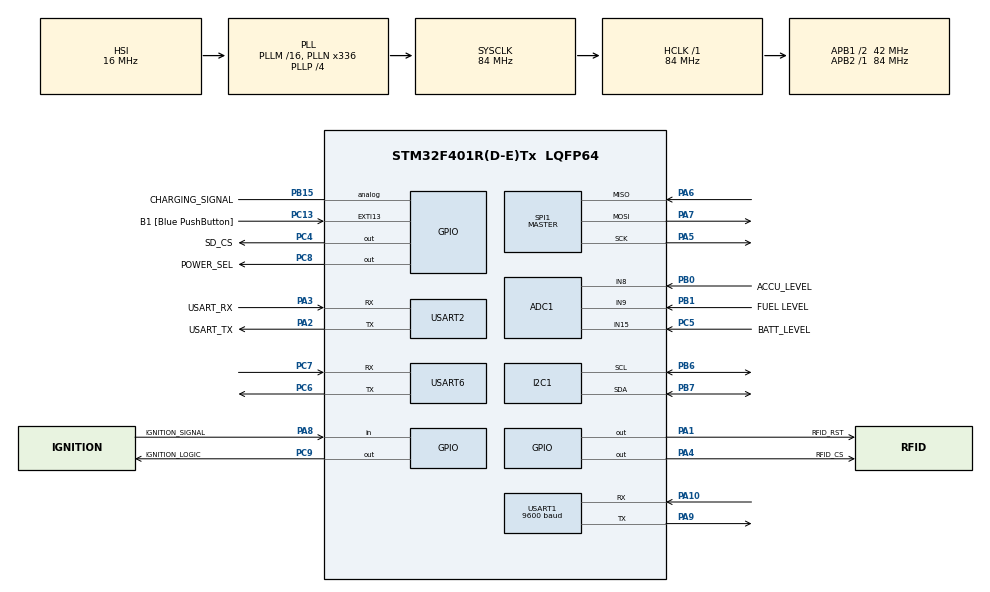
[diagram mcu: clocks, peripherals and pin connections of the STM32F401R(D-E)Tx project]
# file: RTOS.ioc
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Mcu.Family=STM32F4
PA2.GPIO_PuPd=GPIO_NOPULL
PA6.Mode=Full_Duplex_Master
RCC.CortexFreq_Value=84000000
Dma.ADC1.1.MemDataAlignment=DMA_MDATAALIGN_WORD
SPI1.VirtualType=VM_MASTER
ADC1.ContinuousConvMode=ENABLE
USART1.BaudRate=9600
ADC1.SamplingTime-6\#ChannelRegularConversion=ADC_SAMPLETIME_480CYCLES
PA14.GPIO_Label=TCK
PA3.GPIO_PuPd=GPIO_NOPULL
PA2.GPIO_Speed=GPIO_SPEED_FREQ_LOW
PB0.GPIO_Label=ACCU_LEVEL
PA3.GPIO_Speed=GPIO_SPEED_FREQ_LOW
PB15.Signal=GPIO_Analog
RCC.SYSCLKSource=RCC_SYSCLKSOURCE_PLLCLK
ProjectManager.StackSize=0x400
VP_FREERTOS_VS_CMSIS_V2.Mode=CMSIS_V2
PH0\ -\ OSC_IN.Signal=RCC_OSC_IN
Dma.ADC1.1.Instance=DMA2_Stream0
SPI1.Direction=SPI_DIRECTION_2LINES
RCC.HCLKFreq_Value=84000000
RCC.APB2TimFreq_Value=84000000
PB6.Signal=I2C1_SCL
PC7.Signal=USART6_RX
ADC1.InjNumberOfConversion=0
Dma.ADC1.1.PeriphDataAlignment=DMA_PDATAALIGN_WORD
PB6.Mode=I2C
NVIC.DMA2_Stream0_IRQn=true\:5\:0\:false\:false\:true\:true\:false\:true
PA1.GPIO_PuPd=GPIO_PULLUP
RCC.AHBFreq_Value=84000000
Dma.USART1_RX.0.Priority=DMA_PRIORITY_LOW
ADC1.Channel-0\#ChannelRegularConversion=ADC_CHANNEL_15
RCC.HSE_VALUE=8000000
PA4.GPIO_PuPd=GPIO_PULLUP
PC13-ANTI_TAMP.Signal=GPXTI13
SH.ADCx_IN15.0=ADC1_IN15,IN15
ADC1.Channel-6\#ChannelRegularConversion=ADC_CHANNEL_8
PA6.GPIO_PuPd=GPIO_PULLUP
PC14-OSC32_IN.Mode=LSE-External-Oscillator
PC4.GPIO_Label=SD_CS
PA14.Mode=Serial_Wire
VP_SYS_VS_tim1.Mode=TIM1
PA5.GPIO_PuPd=GPIO_PULLUP
PB1.GPIO_Label=FUEL LEVEL
Dma.ADC1.1.Priority=DMA_PRIORITY_LOW
SH.ADCx_IN8.0=ADC1_IN8,IN8
PB7.Signal=I2C1_SDA
Dma.ADC1.1.Mode=DMA_CIRCULAR
PA8.Signal=GPIO_Input
Dma.USART1_RX.0.MemInc=DMA_MINC_ENABLE
ADC1.SamplingTime-0\#ChannelRegularConversion=ADC_SAMPLETIME_480CYCLES
FREERTOS.configTOTAL_HEAP_SIZE=25000
Mcu.Package=LQFP64
PB1.Signal=ADCx_IN9
PA6.Signal=SPI1_MISO
NVIC.TimeBase=TIM1_UP_TIM10_IRQn
USART2.VirtualMode=VM_ASYNC
USART6.VirtualMode=VM_ASYNC
Dma.ADC1.1.Direction=DMA_PERIPH_TO_MEMORY
PA2.GPIO_Label=USART_TX
Dma.ADC1.1.MemInc=DMA_MINC_ENABLE
NVIC.TimeBaseIP=TIM1
PA10.Signal=USART1_RX
PA1.PinState=GPIO_PIN_SET
SH.ADCx_IN9.0=ADC1_IN9,IN9
Dma.USART1_RX.0.FIFOMode=DMA_FIFOMODE_DISABLE
NVIC.DMA2_Stream2_IRQn=true\:5\:0\:false\:false\:true\:true\:false\:true
Dma.Request1=ADC1
RCC.APB1TimFreq_Value=84000000
Dma.USART1_RX.0.Mode=DMA_CIRCULAR
PC5.Signal=ADCx_IN15
NVIC.USART1_IRQn=true\:5\:0\:false\:false\:true\:true\:true\:true
ADC1.Rank-6\#ChannelRegularConversion=2
Dma.Request0=USART1_RX
SPI1.BaudRatePrescaler=SPI_BAUDRATEPRESCALER_128
PA4.GPIO_Label=RFID_CS
Dma.USART1_RX.0.Instance=DMA2_Stream2
PA3.Signal=USART2_RX
PA5.Mode=Full_Duplex_Master
PA2.GPIO_Mode=GPIO_MODE_AF_PP
PB3.GPIO_Label=SWO
PC15-OSC32_OUT.Mode=LSE-External-Oscillator
FREERTOS.Tasks01=MainProcessTask,25,250,MainProcess,Default,NULL,Dynamic,NULL,NULL;IMUTask,25,250,IMU,Default,NULL,Dynamic,NULL,NULL;GPSTask,40,1024,GPS,Default,NULL,Dynamic,NULL,NULL;RFIDTask,42,500,RFID,Default,NULL,Dynamic,NULL,NULL;SDCardTask,42,1024,SDCard,Default,NULL,Dynamic,NULL,NULL;ADCProcessingTa,24,250,ADCProcesing,Default,NULL,Dynamic,NULL,NULL;LoggingDataTask,32,400,LoggingData,Default,NULL,Dynamic,NULL,NULL;SendDataTask,40,2048,SendData,Default,NULL,Dynamic,NULL,NULL
ADC1.Rank-0\#ChannelRegularConversion=1
PA7.Mode=Full_Duplex_Master
Dma.USART1_RX.0.PeriphDataAlignment=DMA_PDATAALIGN_BYTE
PA10.Mode=Asynchronous
PC13-ANTI_TAMP.GPIO_PuPd=GPIO_NOPULL
PC9.GPIO_Label=IGNITION_LOGIC
PC13-ANTI_TAMP.GPIO_Label=B1 [Blue PushButton]
PH1\ -\ OSC_OUT.Mode=HSE-External-Clock-Source
PC8.Signal=GPIO_Output
PC4.Signal=GPIO_Output
PC6.Signal=USART6_TX
RCC.APB1CLKDivider=RCC_HCLK_DIV2
PC14-OSC32_IN.Signal=RCC_OSC32_IN
ADC1.Channel-7\#ChannelRegularConversion=ADC_CHANNEL_9
NVIC.USART6_IRQn=true\:5\:0\:false\:false\:true\:true\:true\:true
PC8.GPIO_Label=POWER_SEL
PA3.Mode=Asynchronous
PA13.Signal=SYS_JTMS-SWDIO
PA9.Mode=Asynchronous
PH0\ -\ OSC_IN.Mode=HSE-External-Clock-Source
PA8.GPIO_Label=IGNITION_SIGNAL
PA4.PinState=GPIO_PIN_SET
ProjectManager.TargetToolchain=STM32CubeIDE
PA3.GPIO_Mode=GPIO_MODE_AF_PP
PC6.Mode=Asynchronous
Dma.USART1_RX.0.Direction=DMA_PERIPH_TO_MEMORY
PA9.Signal=USART1_TX
PC15-OSC32_OUT.Signal=RCC_OSC32_OUT
PA1.Signal=GPIO_Output
PA7.GPIO_PuPd=GPIO_PULLUP
Dma.USART1_RX.0.PeriphInc=DMA_PINC_DISABLE
VP_FATFS_VS_Generic.Mode=User_defined
PA5.Signal=SPI1_SCK
PH1\ -\ OSC_OUT.Signal=RCC_OSC_OUT
board=NUCLEO-F401RE
RCC.VCOOutputFreq_Value=336000000
Dma.ADC1.1.FIFOMode=DMA_FIFOMODE_DISABLE
RCC.APB2Freq_Value=84000000
PB15.GPIO_Label=CHARGING_SIGNAL
SPI1.Mode=SPI_MODE_MASTER
PA1.GPIO_Label=RFID_RST
Dma.USART1_RX.0.MemDataAlignment=DMA_MDATAALIGN_BYTE
Dma.ADC1.1.PeriphInc=DMA_PINC_DISABLE
ADC1.DMAContinuousRequests=ENABLE
ADC1.NbrOfConversion=3
PA13.Mode=Serial_Wire
Mcu.Name=STM32F401R(D-E)Tx
FREERTOS.INCLUDE_xSemaphoreGetMutexHolder=1
PA2.Signal=USART2_TX
PA13.GPIO_Label=TMS
RCC.48MHZClocksFreq_Value=48000000
PB3.Signal=SYS_JTDO-SWO
PA4.Signal=GPIO_Output
RCC.SYSCLKFreq_VALUE=84000000
ADC1.master=1
PC5.GPIO_Label=BATT_LEVEL
USART1.VirtualMode=VM_ASYNC
PC13-ANTI_TAMP.GPIO_ModeDefaultEXTI=GPIO_MODE_IT_FALLING
PB7.Mode=I2C
PA14.Signal=SYS_JTCK-SWCLK
ProjectManager.HeapSize=0x200
NVIC.TIM1_UP_TIM10_IRQn=true\:0\:0\:false\:false\:true\:false\:false\:true
RCC.HSI_VALUE=16000000
PA8.GPIO_PuPd=GPIO_PULLUP
ADC1.Rank-7\#ChannelRegularConversion=3
FREERTOS.Mutexes01=MutexSPI1,Dynamic,NULL;mutexIMU,Dynamic,NULL
RCC.PLLP=RCC_PLLP_DIV4
RCC.PLLQ=7
NVIC.PriorityGroup=NVIC_PRIORITYGROUP_4
ADC1.NbrOfConversionFlag=1
RCC.PLLN=336
PA2.Mode=Asynchronous
PC9.Signal=GPIO_Output
ADC1.SamplingTime-7\#ChannelRegularConversion=ADC_SAMPLETIME_480CYCLES
PC7.Mode=Asynchronous
RCC.APB1Freq_Value=42000000
PB0.Signal=ADCx_IN8
PA3.GPIO_Label=USART_RX
PA7.Signal=SPI1_MOSI

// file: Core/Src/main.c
/* USER CODE BEGIN Header */
/**
  ******************************************************************************
  * @file           : main.c
  * @brief          : Main program body
  ******************************************************************************
  * @attention
  *
  * <h2><center>&copy; Copyright (c) 2021 STMicroelectronics.
  * All rights reserved.</center></h2>
  *
  * This software component is licensed by ST under BSD 3-Clause license,
  * the "License"; You may not use this file except in compliance with the
  * License. You may obtain a copy of the License at:
  *                        opensource.org/licenses/BSD-3-Clause
  *
  ******************************************************************************
  */
/* USER CODE END Header */
#include "main.h"
#include "cmsis_os.h"
#include "fatfs.h"

/* USER CODE BEGIN Includes */
#include <stdio.h>
#include <string.h>
#include <stdlib.h>
#include<stdbool.h>
#include "mpu6050.h"
#include "MFRC522.h"
#include "integer_type.h"
#include <math.h>
#include "RCFilter.h"
#include <stdarg.h>
#include "KalmanFilter.h"
#include "MQTTSim800.h"

/* USER CODE END Includes */

/* USER CODE BEGIN PD */
#define PI 3.14159265

#define ADC_RESOLUTION 4096
#define VOLTAGE_REFERENCE 3.3
#define ACCU_THRESHOLD 12
#define BATT_THRESHOLD 3.7

#define IMU_TS 10
#define GPS_TS 1000

#define ACC_BUFF_LEN 100
#define SPEED_BUFF_LEN 100
#define LOG_LENGTH 2

#define pdTICKSTOMS( xTicks )    ( ( xTicks * 1000 ) / configTICK_RATE_HZ )

/* USER CODE END PD */

ADC_HandleTypeDef hadc1;
DMA_HandleTypeDef hdma_adc1;

I2C_HandleTypeDef hi2c1;

SPI_HandleTypeDef hspi1;

UART_HandleTypeDef huart1;
UART_HandleTypeDef huart2;
UART_HandleTypeDef huart6;
DMA_HandleTypeDef hdma_usart1_rx;

/* Definitions for MainProcessTask */
osThreadId_t MainProcessTaskHandle;
const osThreadAttr_t MainProcessTask_attributes = {
  .name = "MainProcessTask",
  .stack_size = 250 * 4,
  .priority = (osPriority_t) osPriorityNormal1,
};
/* Definitions for IMUTask */
osThreadId_t IMUTaskHandle;
const osThreadAttr_t IMUTask_attributes = {
  .name = "IMUTask",
  .stack_size = 250 * 4,
  .priority = (osPriority_t) osPriorityNormal1,
};
/* Definitions for GPSTask */
osThreadId_t GPSTaskHandle;
const osThreadAttr_t GPSTask_attributes = {
  .name = "GPSTask",
  .stack_size = 1024 * 4,
  .priority = (osPriority_t) osPriorityHigh,
};
/* Definitions for RFIDTask */
osThreadId_t RFIDTaskHandle;
const osThreadAttr_t RFIDTask_attributes = {
  .name = "RFIDTask",
  .stack_size = 500 * 4,
  .priority = (osPriority_t) osPriorityHigh2,
};
/* Definitions for SDCardTask */
osThreadId_t SDCardTaskHandle;
const osThreadAttr_t SDCardTask_attributes = {
  .name = "SDCardTask",
  .stack_size = 1024 * 4,
  .priority = (osPriority_t) osPriorityHigh2,
};
/* Definitions for ADCProcessingTa */
osThreadId_t ADCProcessingTaHandle;
const osThreadAttr_t ADCProcessingTa_attributes = {
  .name = "ADCProcessingTa",
  .stack_size = 250 * 4,
  .priority = (osPriority_t) osPriorityNormal,
};
/* Definitions for LoggingDataTask */
osThreadId_t LoggingDataTaskHandle;
const osThreadAttr_t LoggingDataTask_attributes = {
  .name = "LoggingDataTask",
  .stack_size = 400 * 4,
  .priority = (osPriority_t) osPriorityAboveNormal,
};
/* Definitions for SendDataTask */
osThreadId_t SendDataTaskHandle;
const osThreadAttr_t SendDataTask_attributes = {
  .name = "SendDataTask",
  .stack_size = 2048 * 4,
  .priority = (osPriority_t) osPriorityHigh,
};
/* Definitions for MutexSPI1 */
osMutexId_t MutexSPI1Handle;
const osMutexAttr_t MutexSPI1_attributes = {
  .name = "MutexSPI1"
};
/* Definitions for mutexIMU */
osMutexId_t mutexIMUHandle;
const osMutexAttr_t mutexIMU_attributes = {
  .name = "mutexIMU"
};
/* USER CODE BEGIN PV */
	//task Handle

	//IMU Variable
	MPU6050_t MPU6050;
	const float ref_range = 2;
	const float ref_low = -1;
	const float raw_low_x = -1.02;
	const float raw_low_y = -1.04;
	const float raw_low_z = -1.17;
	const float raw_high_x = 1.06;
	const float raw_high_y = 1.1;
	const float raw_high_z = 0.83;
	double speed;
	float acc_buff[ACC_BUFF_LEN];
	double acc, pitch, roll;
	double acc_max, acc_avg;
	double speed_max, speed_avg;
	uint16_t imu_index;
	MovAvgFilter MFiltAx, MFiltAy, MFiltAz;
	MovAvgFilter MFiltGx, MFiltGy, MFiltGz;

	MatrixTransform MatrixTranform;
	//RFID Variable
	uint8_t UID[4]={};
	uint8_t identification = 0;

	//GPS Variable
	double latitude, prev_latitude = 0;
	double longitude, prev_longitude = 0;
	char strUTC[8] = {}; // UTC time in the readable hh:mm:ss format
	uint8_t flag = 0;
	char GPS_msg[20] ={};
	double GPS_distance;
	double GPS_speed;

	//ADC Variables
	float value[3];
	uint32_t buffer[3];
	RCFilter rcFiltFuel, rcFiltAccu, rcFiltBatt;
	MovAvgFilter MAFiltFuel, MAFiltAccu, MAFiltBatt;
	float result_fuel = 0;
	//SD Card Variables
	FATFS FatFs; 	//Fatfs handle
	FIL fil; 		//File handle
	FRESULT fres; 	//Result after operations
	//Let's get some statistics from the SD card
	DWORD free_clusters, free_sectors, total_sectors;
	FATFS* getFreeFs;
	//Ignition Variables
	uint8_t ignition_status = 0;
	uint8_t ignition_logic = 0;

	//Power Variables
	uint8_t power_sel = 0; //accu usage
	uint8_t charging = 0;

	//Logging Data Variables
	float log_acc_max[LOG_LENGTH] = {};
	float log_acc_avg[LOG_LENGTH] = {};
	float log_gyro[LOG_LENGTH] = {};
	float log_speed_max[LOG_LENGTH] = {};
	float log_speed_avg[LOG_LENGTH] = {};
	double log_latitude[LOG_LENGTH] = {};
	double log_longitude[LOG_LENGTH] = {};
	float log_fuel[LOG_LENGTH] = {};
	float log_accu[LOG_LENGTH] = {};
	float log_batt[LOG_LENGTH] = {};
	uint8_t log_ignition_status [LOG_LENGTH] = {};
	char log_timestamp[LOG_LENGTH][32] = {};

	//GSM
	extern char answer[32];
	extern bool x;
	uint16_t queue = 0;
	//Timestamp
	char timestamp[32] = {};
	//Payload
	char payload[4096];

/* USER CODE END PV */

void SystemClock_Config(void);
static void MX_GPIO_Init(void);
static void MX_DMA_Init(void);
static void MX_USART2_UART_Init(void);
static void MX_I2C1_Init(void);
static void MX_SPI1_Init(void);
static void MX_USART1_UART_Init(void);
static void MX_ADC1_Init(void);
static void MX_USART6_UART_Init(void);
void MainProcess(void *argument);
void IMU(void *argument);
void GPS(void *argument);
void RFID(void *argument);
void SDCard(void *argument);
void ADCProcesing(void *argument);
void LoggingData(void *argument);
void SendData(void *argument);

/* USER CODE BEGIN PFP */
// function to calculate checksum of the NMEA sentence
// -4, but not -3 because the NMEA sentences are delimited with \r\n, and there also is the invisible \r in the end
int nmea0183_checksum(char *msg) {
	int checksum = 0;
	int j = 0;
	// the first $ sign and the last two bytes of original CRC + the * sign
	for (j = 1; j < strlen(msg) - 4; j++) {
		checksum = checksum ^ (unsigned) msg[j];
	}
	return checksum;
}
void HAL_UART_RxCpltCallback(UART_HandleTypeDef *huart) {
	if (huart == UART_SIM800) {
		Sim800_RxCallBack();
		if(x){
			if(strstr(answer,"CCLK")!=NULL){
				memset(timestamp,0,sizeof(timestamp));
				//copy answer to timestamp
				memcpy(timestamp,answer,sizeof(answer));
			}
		}
	} else {
		flag = 1; //GPS Flag
	}
}

void HAL_ADC_ConvCpltCallback(ADC_HandleTypeDef* hadc)
{
  for(int i = 0; i<3; i++){
	  value[i] = buffer[i];
  }
  //Filtering Analog reading
}

void myprintf(const char *fmt, ...) {
  static char buffer[256];
  va_list args;
  va_start(args, fmt);
  vsnprintf(buffer, sizeof(buffer), fmt, args);
  va_end(args);

  int len = strlen(buffer);
  HAL_UART_Transmit(&huart2, (uint8_t*)buffer, len, -1);

}

double distance_on_geoid(double lat1, double lon1, double lat2, double lon2) {

	// Convert degrees to radians
	lat1 = lat1 * M_PI / 180.0;
	lon1 = lon1 * M_PI / 180.0;

	lat2 = lat2 * M_PI / 180.0;
	lon2 = lon2 * M_PI / 180.0;

	// radius of earth in metres
	double r = 6378100;

	// P
	double rho1 = r * cos(lat1);
	double z1 = r * sin(lat1);
	double x1 = rho1 * cos(lon1);
	double y1 = rho1 * sin(lon1);

	// Q
	double rho2 = r * cos(lat2);
	double z2 = r * sin(lat2);
	double x2 = rho2 * cos(lon2);
	double y2 = rho2 * sin(lon2);

	// Dot product
	double dot = (x1 * x2 + y1 * y2 + z1 * z2);
	double cos_theta = dot / (r * r);

	double theta = acos(cos_theta);

	// Distance in Metres
	return r * theta;
}

/* USER CODE END PFP */

int main(void)
{

  /* MCU Configuration--------------------------------------------------------*/

  /* Reset of all peripherals, Initializes the Flash interface and the Systick. */
  HAL_Init();

  /* Configure the system clock */
  SystemClock_Config();

  /* Initialize all configured peripherals */
  MX_GPIO_Init();
  MX_DMA_Init();
  MX_USART2_UART_Init();
  MX_I2C1_Init();
  MX_SPI1_Init();
  MX_USART1_UART_Init();
  MX_ADC1_Init();
  MX_FATFS_Init();
  MX_USART6_UART_Init();
  /* USER CODE BEGIN 2 */
  char txBuffer [100] = {};
  sprintf(txBuffer, "Bismillah..\n");
  HAL_UART_Transmit(&huart2, (unsigned char*) txBuffer, sizeof(txBuffer), 500);
  /* USER CODE END 2 */

  /* Init scheduler */
  osKernelInitialize();
  /* Create the mutex(es) */
  /* creation of MutexSPI1 */
  MutexSPI1Handle = osMutexNew(&MutexSPI1_attributes);

  /* creation of mutexIMU */
  mutexIMUHandle = osMutexNew(&mutexIMU_attributes);

  /* Create the thread(s) */
  /* creation of MainProcessTask */
//  MainProcessTaskHandle = osThreadNew(MainProcess, NULL, &MainProcessTask_attributes);

  /* creation of IMUTask */
//  IMUTaskHandle = osThreadNew(IMU, NULL, &IMUTask_attributes);

  /* creation of GPSTask */
  GPSTaskHandle = osThreadNew(GPS, NULL, &GPSTask_attributes);

  /* creation of RFIDTask */
//  RFIDTaskHandle = osThreadNew(RFID, NULL, &RFIDTask_attributes);

  /* creation of SDCardTask */
//  SDCardTaskHandle = osThreadNew(SDCard, NULL, &SDCardTask_attributes);

  /* creation of ADCProcessingTa */
//  ADCProcessingTaHandle = osThreadNew(ADCProcesing, NULL, &ADCProcessingTa_attributes);

  /* creation of LoggingDataTask */
//  LoggingDataTaskHandle = osThreadNew(LoggingData, NULL, &LoggingDataTask_attributes);

  /* creation of SendDataTask */
//  SendDataTaskHandle = osThreadNew(SendData, NULL, &SendDataTask_attributes);

  /* Start scheduler */
  osKernelStart();

  /* We should never get here as control is now taken by the scheduler */
  /* Infinite loop */
  while (1)
  {

  }
}

void SystemClock_Config(void)
{
  RCC_OscInitTypeDef RCC_OscInitStruct = {0};
  RCC_ClkInitTypeDef RCC_ClkInitStruct = {0};

  /** Configure the main internal regulator output voltage
  */
  __HAL_RCC_PWR_CLK_ENABLE();
  __HAL_PWR_VOLTAGESCALING_CONFIG(PWR_REGULATOR_VOLTAGE_SCALE2);
  /** Initializes the RCC Oscillators according to the specified parameters
  * in the RCC_OscInitTypeDef structure.
  */
  RCC_OscInitStruct.OscillatorType = RCC_OSCILLATORTYPE_HSI;
  RCC_OscInitStruct.HSIState = RCC_HSI_ON;
  RCC_OscInitStruct.HSICalibrationValue = RCC_HSICALIBRATION_DEFAULT;
  RCC_OscInitStruct.PLL.PLLState = RCC_PLL_ON;
  RCC_OscInitStruct.PLL.PLLSource = RCC_PLLSOURCE_HSI;
  RCC_OscInitStruct.PLL.PLLM = 16;
  RCC_OscInitStruct.PLL.PLLN = 336;
  RCC_OscInitStruct.PLL.PLLP = RCC_PLLP_DIV4;
  RCC_OscInitStruct.PLL.PLLQ = 7;
  if (HAL_RCC_OscConfig(&RCC_OscInitStruct) != HAL_OK)
  {
    Error_Handler();
  }
  /** Initializes the CPU, AHB and APB buses clocks
  */
  RCC_ClkInitStruct.ClockType = RCC_CLOCKTYPE_HCLK|RCC_CLOCKTYPE_SYSCLK
                              |RCC_CLOCKTYPE_PCLK1|RCC_CLOCKTYPE_PCLK2;
  RCC_ClkInitStruct.SYSCLKSource = RCC_SYSCLKSOURCE_PLLCLK;
  RCC_ClkInitStruct.AHBCLKDivider = RCC_SYSCLK_DIV1;
  RCC_ClkInitStruct.APB1CLKDivider = RCC_HCLK_DIV2;
  RCC_ClkInitStruct.APB2CLKDivider = RCC_HCLK_DIV1;

  if (HAL_RCC_ClockConfig(&RCC_ClkInitStruct, FLASH_LATENCY_2) != HAL_OK)
  {
    Error_Handler();
  }
}

static void MX_ADC1_Init(void)
{

  ADC_ChannelConfTypeDef sConfig = {0};

  /** Configure the global features of the ADC (Clock, Resolution, Data Alignment and number of conversion)
  */
  hadc1.Instance = ADC1;
  hadc1.Init.ClockPrescaler = ADC_CLOCK_SYNC_PCLK_DIV4;
  hadc1.Init.Resolution = ADC_RESOLUTION_12B;
  hadc1.Init.ScanConvMode = ENABLE;
  hadc1.Init.ContinuousConvMode = ENABLE;
  hadc1.Init.DiscontinuousConvMode = DISABLE;
  hadc1.Init.ExternalTrigConvEdge = ADC_EXTERNALTRIGCONVEDGE_NONE;
  hadc1.Init.ExternalTrigConv = ADC_SOFTWARE_START;
  hadc1.Init.DataAlign = ADC_DATAALIGN_RIGHT;
  hadc1.Init.NbrOfConversion = 3;
  hadc1.Init.DMAContinuousRequests = ENABLE;
  hadc1.Init.EOCSelection = ADC_EOC_SINGLE_CONV;
  if (HAL_ADC_Init(&hadc1) != HAL_OK)
  {
    Error_Handler();
  }
  /** Configure for the selected ADC regular channel its corresponding rank in the sequencer and its sample time.
  */
  sConfig.Channel = ADC_CHANNEL_15;
  sConfig.Rank = 1;
  sConfig.SamplingTime = ADC_SAMPLETIME_480CYCLES;
  if (HAL_ADC_ConfigChannel(&hadc1, &sConfig) != HAL_OK)
  {
    Error_Handler();
  }
  /** Configure for the selected ADC regular channel its corresponding rank in the sequencer and its sample time.
  */
  sConfig.Channel = ADC_CHANNEL_8;
  sConfig.Rank = 2;
  if (HAL_ADC_ConfigChannel(&hadc1, &sConfig) != HAL_OK)
  {
    Error_Handler();
  }
  /** Configure for the selected ADC regular channel its corresponding rank in the sequencer and its sample time.
  */
  sConfig.Channel = ADC_CHANNEL_9;
  sConfig.Rank = 3;
  if (HAL_ADC_ConfigChannel(&hadc1, &sConfig) != HAL_OK)
  {
    Error_Handler();
  }

}

static void MX_I2C1_Init(void)
{

  hi2c1.Instance = I2C1;
  hi2c1.Init.ClockSpeed = 100000;
  hi2c1.Init.DutyCycle = I2C_DUTYCYCLE_2;
  hi2c1.Init.OwnAddress1 = 0;
  hi2c1.Init.AddressingMode = I2C_ADDRESSINGMODE_7BIT;
  hi2c1.Init.DualAddressMode = I2C_DUALADDRESS_DISABLE;
  hi2c1.Init.OwnAddress2 = 0;
  hi2c1.Init.GeneralCallMode = I2C_GENERALCALL_DISABLE;
  hi2c1.Init.NoStretchMode = I2C_NOSTRETCH_DISABLE;
  if (HAL_I2C_Init(&hi2c1) != HAL_OK)
  {
    Error_Handler();
  }

}

static void MX_SPI1_Init(void)
{

  /* SPI1 parameter configuration*/
  hspi1.Instance = SPI1;
  hspi1.Init.Mode = SPI_MODE_MASTER;
  hspi1.Init.Direction = SPI_DIRECTION_2LINES;
  hspi1.Init.DataSize = SPI_DATASIZE_8BIT;
  hspi1.Init.CLKPolarity = SPI_POLARITY_LOW;
  hspi1.Init.CLKPhase = SPI_PHASE_1EDGE;
  hspi1.Init.NSS = SPI_NSS_SOFT;
  hspi1.Init.BaudRatePrescaler = SPI_BAUDRATEPRESCALER_128;
  hspi1.Init.FirstBit = SPI_FIRSTBIT_MSB;
  hspi1.Init.TIMode = SPI_TIMODE_DISABLE;
  hspi1.Init.CRCCalculation = SPI_CRCCALCULATION_DISABLE;
  hspi1.Init.CRCPolynomial = 10;
  if (HAL_SPI_Init(&hspi1) != HAL_OK)
  {
    Error_Handler();
  }

}

static void MX_USART1_UART_Init(void)
{

  huart1.Instance = USART1;
  huart1.Init.BaudRate = 9600;
  huart1.Init.WordLength = UART_WORDLENGTH_8B;
  huart1.Init.StopBits = UART_STOPBITS_1;
  huart1.Init.Parity = UART_PARITY_NONE;
  huart1.Init.Mode = UART_MODE_TX_RX;
  huart1.Init.HwFlowCtl = UART_HWCONTROL_NONE;
  huart1.Init.OverSampling = UART_OVERSAMPLING_16;
  if (HAL_UART_Init(&huart1) != HAL_OK)
  {
    Error_Handler();
  }

}

static void MX_USART2_UART_Init(void)
{

  huart2.Instance = USART2;
  huart2.Init.BaudRate = 115200;
  huart2.Init.WordLength = UART_WORDLENGTH_8B;
  huart2.Init.StopBits = UART_STOPBITS_1;
  huart2.Init.Parity = UART_PARITY_NONE;
  huart2.Init.Mode = UART_MODE_TX_RX;
  huart2.Init.HwFlowCtl = UART_HWCONTROL_NONE;
  huart2.Init.OverSampling = UART_OVERSAMPLING_16;
  if (HAL_UART_Init(&huart2) != HAL_OK)
  {
    Error_Handler();
  }

}

static void MX_USART6_UART_Init(void)
{

  huart6.Instance = USART6;
  huart6.Init.BaudRate = 115200;
  huart6.Init.WordLength = UART_WORDLENGTH_8B;
  huart6.Init.StopBits = UART_STOPBITS_1;
  huart6.Init.Parity = UART_PARITY_NONE;
  huart6.Init.Mode = UART_MODE_TX_RX;
  huart6.Init.HwFlowCtl = UART_HWCONTROL_NONE;
  huart6.Init.OverSampling = UART_OVERSAMPLING_16;
  if (HAL_UART_Init(&huart6) != HAL_OK)
  {
    Error_Handler();
  }

}

static void MX_DMA_Init(void)
{

  /* DMA controller clock enable */
  __HAL_RCC_DMA2_CLK_ENABLE();

  /* DMA interrupt init */
  /* DMA2_Stream0_IRQn interrupt configuration */
  HAL_NVIC_SetPriority(DMA2_Stream0_IRQn, 5, 0);
  HAL_NVIC_EnableIRQ(DMA2_Stream0_IRQn);
  /* DMA2_Stream2_IRQn interrupt configuration */
  HAL_NVIC_SetPriority(DMA2_Stream2_IRQn, 5, 0);
  HAL_NVIC_EnableIRQ(DMA2_Stream2_IRQn);

}

static void MX_GPIO_Init(void)
{
  GPIO_InitTypeDef GPIO_InitStruct = {0};

  /* GPIO Ports Clock Enable */
  __HAL_RCC_GPIOC_CLK_ENABLE();
  __HAL_RCC_GPIOH_CLK_ENABLE();
  __HAL_RCC_GPIOA_CLK_ENABLE();
  __HAL_RCC_GPIOB_CLK_ENABLE();

  /*Configure GPIO pin Output Level */
  HAL_GPIO_WritePin(GPIOA, RFID_RST_Pin|RFID_CS_Pin, GPIO_PIN_SET);

  /*Configure GPIO pin Output Level */
  HAL_GPIO_WritePin(GPIOC, SD_CS_Pin|POWER_SEL_Pin|IGNITION_LOGIC_Pin, GPIO_PIN_RESET);

  /*Configure GPIO pin : B1_Pin */
  GPIO_InitStruct.Pin = B1_Pin;
  GPIO_InitStruct.Mode = GPIO_MODE_IT_FALLING;
  GPIO_InitStruct.Pull = GPIO_NOPULL;
  HAL_GPIO_Init(B1_GPIO_Port, &GPIO_InitStruct);

  /*Configure GPIO pins : RFID_RST_Pin RFID_CS_Pin */
  GPIO_InitStruct.Pin = RFID_RST_Pin|RFID_CS_Pin;
  GPIO_InitStruct.Mode = GPIO_MODE_OUTPUT_PP;
  GPIO_InitStruct.Pull = GPIO_PULLUP;
  GPIO_InitStruct.Speed = GPIO_SPEED_FREQ_LOW;
  HAL_GPIO_Init(GPIOA, &GPIO_InitStruct);

  /*Configure GPIO pins : SD_CS_Pin POWER_SEL_Pin IGNITION_LOGIC_Pin */
  GPIO_InitStruct.Pin = SD_CS_Pin|POWER_SEL_Pin|IGNITION_LOGIC_Pin;
  GPIO_InitStruct.Mode = GPIO_MODE_OUTPUT_PP;
  GPIO_InitStruct.Pull = GPIO_NOPULL;
  GPIO_InitStruct.Speed = GPIO_SPEED_FREQ_LOW;
  HAL_GPIO_Init(GPIOC, &GPIO_InitStruct);

  /*Configure GPIO pin : CHARGING_SIGNAL_Pin */
  GPIO_InitStruct.Pin = CHARGING_SIGNAL_Pin;
  GPIO_InitStruct.Mode = GPIO_MODE_ANALOG;
  GPIO_InitStruct.Pull = GPIO_NOPULL;
  HAL_GPIO_Init(CHARGING_SIGNAL_GPIO_Port, &GPIO_InitStruct);

  /*Configure GPIO pin : IGNITION_SIGNAL_Pin */
  GPIO_InitStruct.Pin = IGNITION_SIGNAL_Pin;
  GPIO_InitStruct.Mode = GPIO_MODE_INPUT;
  GPIO_InitStruct.Pull = GPIO_PULLUP;
  HAL_GPIO_Init(IGNITION_SIGNAL_GPIO_Port, &GPIO_InitStruct);

}

void MainProcess(void *argument)
{
  /* USER CODE BEGIN 5 */
	char txBuffer [200] = {};
	sprintf(txBuffer, "Running Main Process..\n");

	//Initialize Power Control
	HAL_GPIO_WritePin(POWER_SEL_GPIO_Port, POWER_SEL_Pin, GPIO_PIN_RESET);
	HAL_GPIO_WritePin(CHARGING_SIGNAL_GPIO_Port, CHARGING_SIGNAL_Pin, GPIO_PIN_RESET);

  /* Infinite loop */
  for(;;)
  {
	  xTaskNotifyGive(IMUTaskHandle);
	  //Identification Check
	  if ((identification == 1)&&(ignition_status == 1)){
//		  xTaskNotifyGive(IMUTaskHandle);
	  } else {
		  //Reset IMU Reading
//		  MPU6050.Ax = 0;
//		  MPU6050.Ay = 0;
//		  MPU6050.Az = 0;
	  }
	  if(UID[0]== 0x29){ // Need to add driver database
		  identification = 1;
	  } else {
		  identification = 0;
	  }
	  //End of Identification Check

	  /* Setting Ignition Switch Logic*/
	  if(identification == 1){
		  //Set Ignition Logic
		  HAL_GPIO_WritePin(IGNITION_LOGIC_GPIO_Port, IGNITION_LOGIC_Pin, GPIO_PIN_SET);
	  }
	  else {
		  HAL_GPIO_WritePin(IGNITION_LOGIC_GPIO_Port, IGNITION_LOGIC_Pin, GPIO_PIN_RESET);
	  }

	  /* Reading Ignition Switch Signal */
	  ignition_status = HAL_GPIO_ReadPin(IGNITION_SIGNAL_GPIO_Port, IGNITION_SIGNAL_Pin);

	  /* Power Management */
	  if(ignition_status == 0){
	  		  //Use Battery
	  		  power_sel = 1;
	  		  HAL_GPIO_WritePin(POWER_SEL_GPIO_Port, POWER_SEL_Pin, GPIO_PIN_SET);
	  	  }
	  	  else{ //Ignition On
	  		  //Always use Accu
	  		  power_sel = 0;
	  		  HAL_GPIO_WritePin(POWER_SEL_GPIO_Port, POWER_SEL_Pin, GPIO_PIN_RESET);
	  		  /* Check Accu Level */
	  		  	  if((MAFiltAccu.out > ACCU_THRESHOLD)&&(MAFiltBatt.out < BATT_THRESHOLD)) {
	  		  		  //Start Charging
	  		  		  //Set Charging Signal High
	  		  		  charging = 1;
	  		  		  HAL_GPIO_WritePin(CHARGING_SIGNAL_GPIO_Port, CHARGING_SIGNAL_Pin, GPIO_PIN_RESET);
	  		  	  }
	  		  	  else { // No charging
	  		  		  charging = 0;
	  		  		  HAL_GPIO_WritePin(CHARGING_SIGNAL_GPIO_Port, CHARGING_SIGNAL_Pin, GPIO_PIN_RESET);
	  		  	  }
	  	  }
	  /* End of Power Management */

	  memset(txBuffer,0,sizeof(txBuffer));
	  /*
	  sprintf(txBuffer,"\nID : %x-%x-%x-%x Ignition : %d SEL : %d CHRG : %d Lat : %.6lf Lon :%.6lf Ax = %.2f Ay = %.2f Az = %.2f V : %.2f Fuel : %.2f Accu : %.2f Batt : %.2f ",
			  UID[0],UID[1],UID[2],UID[3], ignition_status, power_sel, charging,latitude,longitude, MPU6050.Ax, MPU6050.Ay,MPU6050.Az,GPS_speed,MAFiltFuel.out, MAFiltAccu.out, MAFiltBatt.out);
	  */
	  sprintf(txBuffer,"Fuel : %.2f\n",
			  result_fuel);
//	  HAL_UART_Transmit(&huart2, (unsigned char *) txBuffer, sizeof(txBuffer), 500);
//	HAL_UART_Transmit(&huart2, (unsigned char *) txBuffer, sizeof(txBuffer), 500);
    osDelay(10);
  }
  /* USER CODE END 5 */
}

void IMU(void *argument)
{
  /* USER CODE BEGIN IMU */
	char txBuffer[100]= {};
	double ax,ay,az;
	//Clearing Buffer
	memset(txBuffer,0,sizeof(txBuffer));
	sprintf(txBuffer, "Running IMU Task..\n");
	uint8_t ID = MPU6050_Init(&hi2c1);
	sprintf(txBuffer,"IMU Initialization Success : %d \n", ID);
	HAL_UART_Transmit(&huart2, (uint8_t*)txBuffer, sizeof(txBuffer), 100);

	//Init Matrix Transformation
	MatrixTransformInit(&MatrixTranform);
	//init filter
	MovAvgFilter_init(&MFiltAy);
	MovAvgFilter_init(&MFiltAy);
	MovAvgFilter_init(&MFiltAz);

	MovAvgFilter_init(&MFiltGx);
	MovAvgFilter_init(&MFiltGy);
	MovAvgFilter_init(&MFiltGz);

	osDelay(pdMS_TO_TICKS(1000));
  /* Infinite loop */
  for(;;)
  {

	//Blocking Until Notified
	ulTaskNotifyTake( pdTRUE, portMAX_DELAY );
	MPU6050_Read_Accel(&hi2c1, &MPU6050);
	MovAvgFilter_Update(&MFiltAx, MPU6050.Ax);
	MovAvgFilter_Update(&MFiltAy, MPU6050.Ay);
	MovAvgFilter_Update(&MFiltAz, MPU6050.Az);

	//Corrected Value
	ax = ((MFiltAx.out-raw_low_x)*ref_range)/(raw_high_x-raw_low_x)+ ref_low;
	ay = ((MFiltAy.out-raw_low_y)*ref_range)/(raw_high_y-raw_low_y)+ ref_low;
	az = ((MFiltAz.out-raw_low_z)*ref_range)/(raw_high_z-raw_low_z)+ ref_low;

	//Frame Transformation
	ax = (round(((0.9987 * ax - 0.0007*ay + 0.0510*az)*100)))/100.0;
	ay = (round(((-0.0007* ax + 0.9996*ay + 0.0265*az)*100)))/100.0;
	az = (round(((-0.0510* ax - 0.0265*ay + 0.9983*az)*100)))/100.0;

	//Calculate Pitch
	roll = atan2(ay,az);
//	roll = round((atan(-ay/sqrt(ax*ax+az*az))*180/PI))*PI/180;
//	roll = round((atan(-MFiltAy.out/sqrt(MFiltAx.out*MFiltAx.out+MFiltAz.out*MFiltAz.out))*180/PI))*PI/180;
	pitch = atan(-ax/sqrt(ay*ay+az*az));

//	if((roll>-(PI/18))&&(roll<(PI/18))){
//		acc = 1*(ay);
//
//	} else {
//		//choose axis
//		acc = 1*(ay + sin(roll));
//	}

	acc = ay;
	//Calculate Speed
	speed += acc* GRAVITY*IMU_TS *0.001 *3.6;

	/*
	vel[0] += MPU6050.Ax * IMU_TS * 0.001; //Vx TS in MS
	vel[1] += MPU6050.Ay * IMU_TS * 0.001; //Vy
	vel[2] += (MPU6050.Az - 5.52) * IMU_TS * 0.001; //Vz
	speed = sqrt(pow(vel[0],2) + pow(vel[1],2) + pow(vel[2],2));
	*/
	osMutexAcquire(mutexIMUHandle, portMAX_DELAY);

	imu_index++;
	//Calculate maximum speed
	if(speed > speed_max){
		speed_max = speed;
	}
	float comp = sin(roll);
	//calculate maximum acceleration
	if(acc > acc_max){
		acc_max = acc;
	}
	//calculate average
	acc_avg = (acc_avg*(imu_index-1)/imu_index) + (acc/imu_index);
	speed_avg = (speed_avg*(imu_index-1)/imu_index) + (speed/imu_index);

	osMutexRelease(mutexIMUHandle);

//	speed = CalSpeed(MPU6050, IMU_TS);
	memset(txBuffer,0,sizeof(txBuffer));
//	sprintf(txBuffer, "roll:%.2f comp:%.3f ax:%.2f ay:%.2f\n", roll,comp,ax,ay);
	sprintf(txBuffer,"acc = %.2f acc_avg = %.2f acc_max = %.2f speed =%.2f speed_avg = %.2f speed_max =%.2f\n",acc,acc_avg, acc_max, speed , speed_avg, speed_max);
//	HAL_UART_Transmit(&huart2, (unsigned char *) txBuffer, sizeof(txBuffer), 100);
    osDelay(pdMS_TO_TICKS(IMU_TS));
  }
  /* USER CODE END IMU */
}

void GPS(void *argument)
{
  /* USER CODE BEGIN GPS */
	TickType_t tick_now,tick_prev,dtick = 0;
	uint8_t buff[255];
	  char buffStr[255];
	  char nmeaSnt[80];

	  char *rawSum;
	  char smNmbr[3];

	  // The Equator has a latitude of 0°,
	  //the North Pole has a latitude of 90° North (written 90° N or +90°),
	  //and the South Pole has a latitude of 90° South (written 90° S or −90°)
	  char *latRaw;
	  char latDg[10];
	  char latMS[20];
	  char *hemNS;

	  // longitude in degrees (0° at the Prime Meridian to +180° eastward and −180° westward)
	  // that is why 3
	  char *lonRaw;
	  char lonDg[10];
	  char lonMS[10];
	  char *hemEW;

	  char *utcRaw; // raw UTC time from the NMEA sentence in the hhmmss format

	  char hH[2]; // hours
	  char mM[2]; // minutes
	  char sS[2]; // seconds

	  uint8_t cnt = 0;

	  HAL_UART_Receive_DMA(&huart1, buff, 255);

	  osDelay(pdMS_TO_TICKS(5000));
	  HAL_UART_Transmit(&huart2, (unsigned char *) "Start\n", 6, 500);
  /* Infinite loop */
  for(;;)
  {
	  char txBuffer[200] = {};
	  if (flag) {
	  	memset(buffStr, 0, 255);
	  	sprintf(buffStr, "%s", buff);

	  	memset(txBuffer,0,sizeof(txBuffer));
	  	sprintf(txBuffer, "GPS Available..\n");
	  	HAL_UART_Transmit(&huart2, (uint8_t *)buffStr, strlen(buffStr), 70);

	   /*splitting the buffStr by the "\n" delimiter with the strsep() C function
	   	 see http://www.manpagez.com/man/3/strsep/
	    */
	  	char *token, *string;
	  	// actually splitting the string by "\n" delimiter
	  	string = strdup(buffStr);
	  	while ((token = strsep(&string, "\n")) != NULL) {
	  		memset(nmeaSnt, 0, 80);
	  		sprintf(nmeaSnt, "%s", token);

	  		/*memset(txBuffer,0,sizeof(txBuffer));
	  	  	  HAL_UART_Transmit(&huart2, (unsigned char*) txBuffer, sizeof(txBuffer), 100);
	  	  	*/

	  		// selecting only $GNGLL sentences, combined GPS and GLONAS
	  		// on my GPS sensor this good NMEA sentence is always 50 characters
	  		if ((strstr(nmeaSnt, "$GNGGA") != 0) && (strlen(nmeaSnt) > 49) && strstr(nmeaSnt, "*") != 0) {
	  			rawSum = strstr(nmeaSnt, "*");
	  			memcpy(smNmbr, &rawSum[1], 2);
	  			smNmbr[2] = '\0';

	  			uint8_t intSum = nmea0183_checksum(nmeaSnt);
	  			char hex[2];
	  			// "%X" unsigned hexadecimal integer (capital letters)
	  			sprintf(hex, "%X", intSum);

	  			// checksum data verification, if OK, then we can really trust
	  			// the data in the the NMEA sentence
	  			if (strstr(smNmbr, hex) != NULL) {
	  				cnt = 0;
	  				// splitting the good NMEA sentence into the tokens by the comma delimiter
	  				for (char *pV = strtok(nmeaSnt, ","); pV != NULL; pV = strtok(NULL, ",")) {
	  					/*
	  					memset(txBuffer,0,sizeof(txBuffer));
	  					sprintf(txBuffer,"pV[%d] : %s\n",cnt, pV);
	  					HAL_UART_Transmit(&huart2, (unsigned char *) txBuffer, sizeof(txBuffer), 100);
	  					*/
	  					switch (cnt) {
	  						case 1:
	  							  utcRaw = strdup(pV);
	  							  break;
	  						case 2:
	  							  latRaw = strdup(pV);
	  							  break;
	  						case 3:
	  							  hemNS = strdup(pV);
	  							  break;
	  						case 4:
	  							  lonRaw = strdup(pV);
	  							  break;
	  						case 5:
	  							  hemEW = strdup(pV);
	  							  break;
	  					}
	  					cnt++;
	  				} //end for

	  				//Converting Longitude and Latitude into Float
	  				latitude = atof(latRaw);
	  				longitude = atof(lonRaw);

	  				if (*hemNS == 'S') {
	  					latitude  *= -1.0;
	  				}
	  				if (*hemEW == 'W') {
	  					longitude *= -1.0;
	  				}
	  				char * token;

	  				//Get LatitudeDegree
	  				token = strtok(latRaw, ".");
	  				memset(latDg, 0, sizeof(latDg));
	  				sprintf(latDg, token);

	  				//Get Minutes
	  				token = strtok(NULL,".");
	  				memset(latMS, 0, sizeof(latMS));
	  				sprintf(latMS, token);

	  				//Get longitude Degree
	  				float degrees = trunc(latitude / 100.0f);
	  				float minutes = latitude - (degrees * 100.0f);
	  				latitude = degrees + (minutes / 60.0f);

	  				degrees = trunc(longitude / 100.0f);
	  				minutes = longitude - (degrees * 100.0f);
	  				longitude = degrees + (minutes / 60.0f);

	  				token = strtok(lonRaw, ".");
	  				memset(lonDg, 0, sizeof(lonDg));
	  				memcpy(lonDg, token, strlen(token));

	  				token = strtok(NULL, ".");
	  				memset(lonMS, 0, sizeof(lonMS));
	  				memcpy(lonMS, token, strlen(token));

	  				//converting the UTC time in the hh:mm:ss format
	  				memcpy(hH, &utcRaw[0], 2);
	  				hH[2] = '\0';

	  				memcpy(mM, &utcRaw[2], 2);
	  				mM[2] = '\0';

	  				memcpy(sS, &utcRaw[4], 2);
	  				sS[2] = '\0';

	  				strcpy(strUTC, hH);
	  				strcat(strUTC, ":");
	  				strcat(strUTC, mM);
	  				strcat(strUTC, ":");
	  				strcat(strUTC, sS);
	  				strUTC[8] = '\0';

	  				tick_now = xTaskGetTickCount();
	  				dtick = tick_now - tick_prev;
	  				tick_prev = tick_now;

	  				//Calculate Distance
	  				GPS_distance = distance_on_geoid(prev_latitude, prev_longitude, latitude, longitude);
	  				GPS_speed    = (double) (GPS_distance/(pdTICKSTOMS(dtick))*1000); //ms to s

	  				//Update previous location
	  				prev_latitude = latitude;
	  				prev_longitude = longitude;

	  				memset(txBuffer,0,sizeof(txBuffer));
	  				sprintf(txBuffer, "latitude : %f longitude : %f distance : %.2f speed : %.2f\n", latitude, longitude,GPS_distance,GPS_speed);
	  				HAL_UART_Transmit(&huart2, (unsigned char *)txBuffer, strlen(txBuffer), 100);
	  			} //end of the chekcsum data verification
	  		} //end of %GPPGA Sentences selection
	  	}// end of splotting the buffstr by the "\n" delimiter with strsep() c function
	  	flag = 0;

	  }
	  else {
		  memset(txBuffer,0,sizeof(txBuffer));
		  sprintf(txBuffer,"GPS no signal..\n");
		  HAL_UART_Transmit(&huart2, (uint8_t *) txBuffer, sizeof(txBuffer), 100);
	  }
	  osDelay(pdMS_TO_TICKS(GPS_TS));
  }
  /* USER CODE END GPS */
}

void RFID(void *argument)
{
  /* USER CODE BEGIN RFID */

	char txBuffer [100] ={};
	u_char status, cardstr[MAX_LEN];
//	u_char checksum

	osMutexAcquire(MutexSPI1Handle, portMAX_DELAY);

	MFRC522_Init();
	status = 0;

	while (status != 0x92){
		status = Read_MFRC522(VersionReg);
		sprintf(txBuffer,"Running RC522 ver :%x\n", status);
		HAL_UART_Transmit(&huart2, (unsigned char*) txBuffer, sizeof(txBuffer), 5000);
		osDelay(pdMS_TO_TICKS(1000));
	}
	osMutexRelease(MutexSPI1Handle);
	//Printing to PC
	memset(txBuffer,0,sizeof(txBuffer));
	status = 0;
	osDelay(pdMS_TO_TICKS(1000));
  /* Infinite loop */
  for(;;)
  {
	  osMutexAcquire(MutexSPI1Handle, portMAX_DELAY);
	  status = MFRC522_Request(PICC_REQIDL, cardstr);
	  if(status == MI_OK){
		  sprintf(txBuffer,"Card detected ..\n");
		  HAL_UART_Transmit(&huart2, (unsigned char*) txBuffer, sizeof(txBuffer), 500);
//		  sprintf(txBuffer,"Card Type : %x %x %x\n", cardstr[0],cardstr[1],cardstr[2]);
//		  HAL_UART_Transmit(&huart2, (unsigned char*) txBuffer, sizeof(txBuffer), 500);
		  memset(txBuffer,0,sizeof(txBuffer));

		  //Anti-collision, return card serial number == 4 bytes
		  status = MFRC522_Anticoll(cardstr);
		  if (status == MI_OK){
//			  checksum1 = cardstr[0] ^ cardstr[1] ^ cardstr[2] ^ cardstr[3];
			  for(int i = 0; i <4 ;i++){
				  UID[i]=cardstr[i];
			  }
			  sprintf(txBuffer,"UID: %x %x %x %x ",(u_char)cardstr[0], (u_char)cardstr[1],(u_char)cardstr[2],(u_char)cardstr[3]);
			  HAL_UART_Transmit(&huart2, (uint8_t*) txBuffer, sizeof(txBuffer), 100);
			  memset(txBuffer,0,sizeof(txBuffer));
			  if(UID[0]== 0x29){ // Need to add driver database
				  sprintf(txBuffer,"Verified ..\n");
			  } else {
				  sprintf(txBuffer,"NOT Verified ..\n");
			  }
			  HAL_UART_Transmit(&huart2, (uint8_t*) txBuffer, sizeof(txBuffer), 100);
		  }
	  }
	  else {
		  memset(txBuffer,0,sizeof(txBuffer));
		  sprintf(txBuffer,"Status :%x\n", status);
//		  HAL_UART_Transmit(&huart2, (unsigned char*) txBuffer, sizeof(txBuffer), 5000);
		  //		  sprintf(txBuffer,"Finding ..\n");
//		  HAL_UART_Transmit(&huart2, (uint8_t*) txBuffer, sizeof(txBuffer), 100);
	  }
	  osMutexRelease(MutexSPI1Handle);

    osDelay(250);
  }
  /* USER CODE END RFID */
}

void SDCard(void *argument)
{
  /* USER CODE BEGIN SDCard */
	osMutexAcquire(MutexSPI1Handle, portMAX_DELAY);
	osDelay(pdMS_TO_TICKS(2000));
	//Open the file system
	fres = f_mount(&FatFs, "", 1); //1=mount now
	if (fres != FR_OK) {
		myprintf("f_mount error (%i)\r\n", fres);
		osMutexRelease(MutexSPI1Handle);
	}

    fres = f_getfree("", &free_clusters, &getFreeFs);
    if (fres != FR_OK) {
    	myprintf("f_getfree error (%i)\r\n", fres);
    	osMutexRelease(MutexSPI1Handle);
    }

    //Formula comes from ChaN's documentation
    total_sectors = (getFreeFs->n_fatent - 2) * getFreeFs->csize;
    free_sectors = free_clusters * getFreeFs->csize;

//    myprintf("SD card stats:\r\n%10lu KiB total drive space.\r\n%10lu KiB available.\r\n", total_sectors / 2, free_sectors / 2);

    //Now let's try to open file "test.txt"
    fres = f_open(&fil, "write.txt", FA_READ);
    if (fres != FR_OK) {
    	myprintf("f_open error (%i)\r\n");
    	osMutexRelease(MutexSPI1Handle);
    }else {
//    	myprintf("I was able to open 'tesjson.txt' for reading!\r\n");
    }

    //Read 30 bytes from "test.txt" on the SD card
    BYTE readBuf[100];

    //Name File Format
    char folder_name[10] ="logging/";
    char front_name [10] = "data";
    char back_name [20] = {};
    char filename [50] = {};
    //We can either use f_read OR f_gets to get data out of files
    //f_gets is a wrapper on f_read that does some string formatting for us
    TCHAR* rres = f_gets((TCHAR*)readBuf, 100, &fil);
    if(rres != 0) {
//    	myprintf("Read string from 'tesjson.txt'' contents: %s\r\n", readBuf);
    } else {
    	myprintf("f_gets error (%i)\r\n", fres);
    }

    //Be a tidy kiwi - don't forget to close your file!
    f_close(&fil);

    //Now let's try and write a file "write.txt"
    fres = f_open(&fil, "write.txt", FA_WRITE | FA_OPEN_ALWAYS | FA_CREATE_ALWAYS);
    if(fres == FR_OK) {
//    	myprintf("I was able to open 'write.txt' for writing\r\n");
    } else {
    	myprintf("f_open error (%i)\r\n", fres);
    }

    //Copy in a string
//    strncpy((char*)readBuf, "a new file is made!", 19);
    char* kirimjson = "{'Lokasi':'-6.914744,107.609810','Time_Stamp':'27 April 2021, 20:22'}" ;
    uint32_t length_var = strlen(kirimjson);
    strncpy((char*)readBuf, kirimjson, length_var);
    UINT bytesWrote;
    fres = f_write(&fil, readBuf, length_var, &bytesWrote);
    if(fres == FR_OK) {
//    	myprintf("Wrote %i bytes to 'write.txt'!\r\n", bytesWrote);
    } else {
    	myprintf("f_write error (%i)\r\n");
    }
    //Be a tidy kiwi - don't forget to close your file!
    f_close(&fil);
//    f_unlink("/write.txt"); Buat ngedelete file
    //We're done, so de-mount the drive
    f_mount(NULL, "", 0);

    osMutexRelease(MutexSPI1Handle);
  /* Infinite loop */
  for(;;)
  {
	 //Wait notification from Send Data Task
	 ulTaskNotifyTake( pdTRUE, portMAX_DELAY );
	 myprintf("Saving in ");
	 //Acquire Mutex
	 osMutexAcquire(MutexSPI1Handle, portMAX_DELAY);
	 //Mounting SD Card
	 fres = f_mount(&FatFs, "", 1); //1=mount now
	 if (fres != FR_OK) {
		 myprintf("f_mount error (%i)\r\n", fres);
		 osMutexRelease(MutexSPI1Handle);
	 }

	 //Determine filename
	 //Clearing buffer
	 memset(filename,0,sizeof(filename));
	 memset(back_name,0,sizeof(back_name));
	 //write folder name first
	 sprintf(filename,"%s",folder_name);
	 //write back_name in buffer
	 sprintf(back_name, "_%d.txt",queue);
	 //Concatenate foldername and front name
	 strcat(filename,front_name);
	 //concatenate filename and back_name
	 strcat(filename,back_name);
	 myprintf("filename : %s\n", filename);
	 fres = f_open(&fil, filename, FA_WRITE | FA_OPEN_ALWAYS | FA_CREATE_ALWAYS);
	 if (fres != FR_OK) {
		 myprintf("f_open error (%i)\r\n");
		 osMutexRelease(MutexSPI1Handle);
	 } else {
		 //Write File
		 fres = f_write(&fil, payload, strlen(payload), &bytesWrote);
		 if(fres == FR_OK) {
		 //    	myprintf("Wrote %i bytes to 'write.txt'!\r\n", bytesWrote);
		 } else {
			 myprintf("f_write error (%i)\r\n");
		 }
		 //Closing File
		 f_close(&fil);
	 }
	 //We're done, so de-mount the drive
	 f_mount(NULL, "", 0);
	 osMutexRelease(MutexSPI1Handle);
    osDelay(pdMS_TO_TICKS(100));
  }
  /* USER CODE END SDCard */
}

void ADCProcesing(void *argument)
{
  /* USER CODE BEGIN ADCProcesing */
	char txBuffer[100] = {};
	HAL_ADC_Start_DMA(&hadc1, buffer, 3);
	sprintf(txBuffer,"ADC Intialization..\n");
	HAL_UART_Transmit(&huart2, (uint8_t*) txBuffer, sizeof(txBuffer), HAL_MAX_DELAY);

	/* Initialize Input Value */
	float input_fuel, input_accu, input_batt = 0;
	float result_accu, result_batt = 0;
	/* Initialize RC Filter */
	RCFilter_Init(&rcFiltFuel, 5.0f, 100.0f);

	/*Initialize Moving Average Filter*/
	MovAvgFilter_init(&MAFiltFuel);
	MovAvgFilter_init(&MAFiltAccu);
	MovAvgFilter_init(&MAFiltBatt);
	/* Start ADC */
	HAL_ADC_Start_DMA(&hadc1, buffer, 3);
	sprintf(txBuffer,"ADC Intialization Success..\n");
	HAL_UART_Transmit(&huart2, (uint8_t*) txBuffer, sizeof(txBuffer), HAL_MAX_DELAY);
	osDelay(pdMS_TO_TICKS(1000));
  /* Infinite loop */
  for(;;)
  {
	  input_accu = (value[1]/ADC_RESOLUTION)* 3.3 * 12.16/0.77;
	  input_batt = (value[0]/ADC_RESOLUTION)* 3.3 * 7.9/2.14;
	  input_fuel = ((value[2]/ADC_RESOLUTION)* 3.295)*1;

//	  input fuel = ((floor((input_fuel*100))
	  RCFilter_Update(&rcFiltFuel, input_fuel);
	  MovAvgFilter_Update(&MAFiltFuel, input_fuel);
	  MovAvgFilter_Update(&MAFiltAccu, input_accu);
	  MovAvgFilter_Update(&MAFiltBatt, input_batt);

	  MAFiltFuel.out = ((floor(MAFiltFuel.out*100))/100.0);
	  result_fuel = (1-((MAFiltFuel.out-0.2)/0.8))*3.8;

	  memset(txBuffer,0,sizeof(txBuffer));
	  sprintf(txBuffer,"RawAccu:%.2f RawBatt:%.2f Accu:%.2f Batt:%.2f\n", input_accu,input_batt,MAFiltAccu.out, MAFiltBatt.out);
	  HAL_UART_Transmit(&huart2, (unsigned char *) txBuffer, sizeof(txBuffer), 500);
	  osDelay(pdMS_TO_TICKS(10)); //100 Hz Sampling Rate
  }
  /* USER CODE END ADCProcesing */
}

void LoggingData(void *argument)
{
  /* USER CODE BEGIN LoggingData */

	uint8_t index = 0;
	char txBuffer[100];
	memset(txBuffer,0,sizeof(txBuffer));
	sprintf(txBuffer,"Starting Logging..\n");
	HAL_UART_Transmit(&huart2, (uint8_t *) txBuffer , sizeof(txBuffer), 100);
	osDelay(pdMS_TO_TICKS(1000));
  /* Infinite loop */
  for(;;)
  {
	SIM800_SendCommand("AT+CCLK?\r\n", "OK\r\n", CMD_DELAY);
	log_acc_avg[index] = acc_avg;
	log_acc_max[index] = acc_max;
	log_gyro[index] = MFiltGz.out;
	log_speed_max[index] = speed_max;
	log_speed_avg[index] = speed_avg;
	log_latitude[index] = latitude;
	log_longitude[index] = longitude;
	log_fuel[index] = MAFiltFuel.out;
	log_accu[index] = MAFiltAccu.out;
	log_batt[index] = MAFiltBatt.out;
	log_ignition_status[index] = 0;

	memset(log_timestamp[index], 0, sizeof(log_timestamp[index]));
	memcpy(log_timestamp[index], &timestamp[8], 20);
	// Change timezone to UTC
	log_timestamp[index][19] = '0';
	memset(txBuffer,0,sizeof(txBuffer));
	sprintf(txBuffer,"index : %d Timestamp: %s\n", index, log_timestamp[index]);
//	HAL_UART_Transmit(&huart2, (uint8_t *) txBuffer , sizeof(txBuffer), 100);
	//Increment Index
	index++;
	if(index >= LOG_LENGTH){

		index = 0;
		//clearing array
		osMutexAcquire(mutexIMUHandle, portMAX_DELAY);
		imu_index = 0;
		speed_avg = 0;
		speed_max = 0;
		acc_avg = 0;
		acc_max = 0;

		osMutexRelease(mutexIMUHandle);
		memset(payload,0,sizeof(payload)); //clearing form
		//Create Payload Form
		sprintf(payload,"`{\\\"tw\\\":[\\\"%s\\\",\\\"%s\\\"],\\\"lk\\\":[\\\"%f,%f\\\",\\\"%f,%f\\\"],\\\"k_max\\\":[%.2f,%.2f],\\\"k_avg\\\":[%.2f,%.2f],\\\"k_ang\\\":[%.2f,%.2f],\\\"a_max\\\":[%.2f,%.2f],\\\"a_avg\\\":[%.2f,%.2f],\\\"tb\\\":[%.2f,%.2f],\\\"ta\\\":[%.2f,%.2f],\\\"bb\\\":[%.2f,%.2f],\\\"si\\\":[%d,%d],\\\"kurir\\\":17}`",
				log_timestamp[0], log_timestamp[1], log_latitude[0],log_longitude[0], log_latitude[1], log_longitude[1], log_speed_max[0],log_speed_max[1],log_speed_avg[0],log_speed_avg[1],log_gyro[0], log_gyro[1],log_acc_max[0],log_acc_max[1], log_acc_avg[0], log_acc_avg[1], log_batt[0], log_batt[1], log_accu[0], log_accu[1],log_fuel[0], log_fuel[1], log_ignition_status[0], log_ignition_status[1]);

//		sprintf(payload,"`{\\\"tw\\\":[\\\"2021-05-26T07:47:21.810Z\\\",\\\"2021-05-26T07:47:21.916Z\\\"],\\\"lk\\\":[\\\"-6.8385324382250205,107.6955557148961\\\",\\\"-6.828578043365432,107.6112333432733\\\"],\\\"k_max\\\":[43.99,55.65],\\\"k_avg\\\":[76.99,82.97],\\\"k_ang\\\":[13.24,2.99],\\\"a_max\\\":[3.62,83.87],\\\"a_avg\\\":[91.39,62.66],\\\"tb\\\":[6.07,6.39],\\\"ta\\\":[5.10,1.99],\\\"bb\\\":[0.92,0.98],\\\"si\\\":[0,1],\\\"kurir\\\":1}`");
//		xTaskNotifyGive(SendDataTaskHandle);
	}

//	HAL_UART_Transmit(&huart2, (uint8_t*)payload, sizeof(payload), 100);
//	for(int i = 0; i<LOG_LENGTH; i++){
//				memset(txBuffer, 0, sizeof(txBuffer));
//				sprintf(txBuffer,"\n[%d] acc_avg: %.2f acc_max: %.2f speed_avg: %.2f speed_max: %.2f",
//						i,log_acc_avg[i],log_acc_max[i], log_speed_avg[i], log_speed_max[i]);
//				HAL_UART_Transmit(&huart2, (uint8_t*)txBuffer, sizeof(txBuffer), 100);
//			}
    osDelay(pdMS_TO_TICKS(10*1000));
  }
  /* USER CODE END LoggingData */
}

void SendData(void *argument)
{
  /* USER CODE BEGIN SendData */
	char txBuffer[50] ={};
	uint8_t pub_status = 1;
	char * topic = "client-1";
	uint8_t error = 0;
	error += SIM800_Init();

	if(error >0 ){
		sprintf(txBuffer,"GSM Initialization fail\n");
	} else {
		sprintf(txBuffer,"GSM Initialization success\n");
	}
	HAL_UART_Transmit(&huart2, (uint8_t*) txBuffer, sizeof(txBuffer), 100);
	//Connecting to broker
	error += MQTT_Connect("indosatgprs", "", "", "3.210.14.248", 1883, "faisa", "disadacepetlulus", "client-1", 1000);

	memset(txBuffer,0,sizeof(txBuffer));
	if(error >0 ){
		memset(txBuffer,0,sizeof(txBuffer));
		sprintf(txBuffer,"Reconnecting..\n");
		HAL_UART_Transmit(&huart2, (uint8_t*) txBuffer, sizeof(txBuffer), 100);
		error = 0;
		error += SIM800_SendCommand("AT+RST=1\r\n", "READY\r\n", 1000);
		osDelay(pdMS_TO_TICKS(20*1000));
		error += MQTT_Connect("indosatgprs", "", "", "3.210.14.248", 1883, "faisa", "disadacepetlulus", "client-1", 1000);
	}
	else {
		memset(txBuffer,0,sizeof(txBuffer));
		sprintf(txBuffer,"Connected..\n");
		HAL_UART_Transmit(&huart2, (uint8_t*) txBuffer, sizeof(txBuffer), 100);
	}
	osDelay(pdMS_TO_TICKS(1000));

	/* Infinite loop */
  for(;;)
  {
	  //Blocking Until Notified
	  ulTaskNotifyTake( pdTRUE, portMAX_DELAY );
	  //Send Payload
//	  HAL_UART_Transmit(&huart2, (uint8_t *) payload , sizeof(payload), 100);
	  pub_status = MQTT_Pub(topic, payload);
	  memset(txBuffer, 0, sizeof(txBuffer));
	  sprintf(txBuffer,"Sending : %d\n", pub_status);
//	  HAL_UART_Transmit(&huart2, (uint8_t*)txBuffer, sizeof(txBuffer), 100);
	  if(pub_status!=0){
		  //Sending Fail
		  queue++;
//		  xTaskNotifyGive(SDCardTaskHandle);
	  }
	  osDelay(pdMS_TO_TICKS(5000));
  }
  /* USER CODE END SendData */
}

 /**
  * @brief  Period elapsed callback in non blocking mode
  * @note   This function is called  when TIM1 interrupt took place, inside
  * HAL_TIM_IRQHandler(). It makes a direct call to HAL_IncTick() to increment
  * a global variable "uwTick" used as application time base.
  * @param  htim : TIM handle
  * @retval None
  */
void HAL_TIM_PeriodElapsedCallback(TIM_HandleTypeDef *htim)
{
  if (htim->Instance == TIM1) {
    HAL_IncTick();
  }
}

void Error_Handler(void)
{
  __disable_irq();
  while (1)
  {
  }
}

/************************ (C) COPYRIGHT STMicroelectronics *****END OF FILE****/
